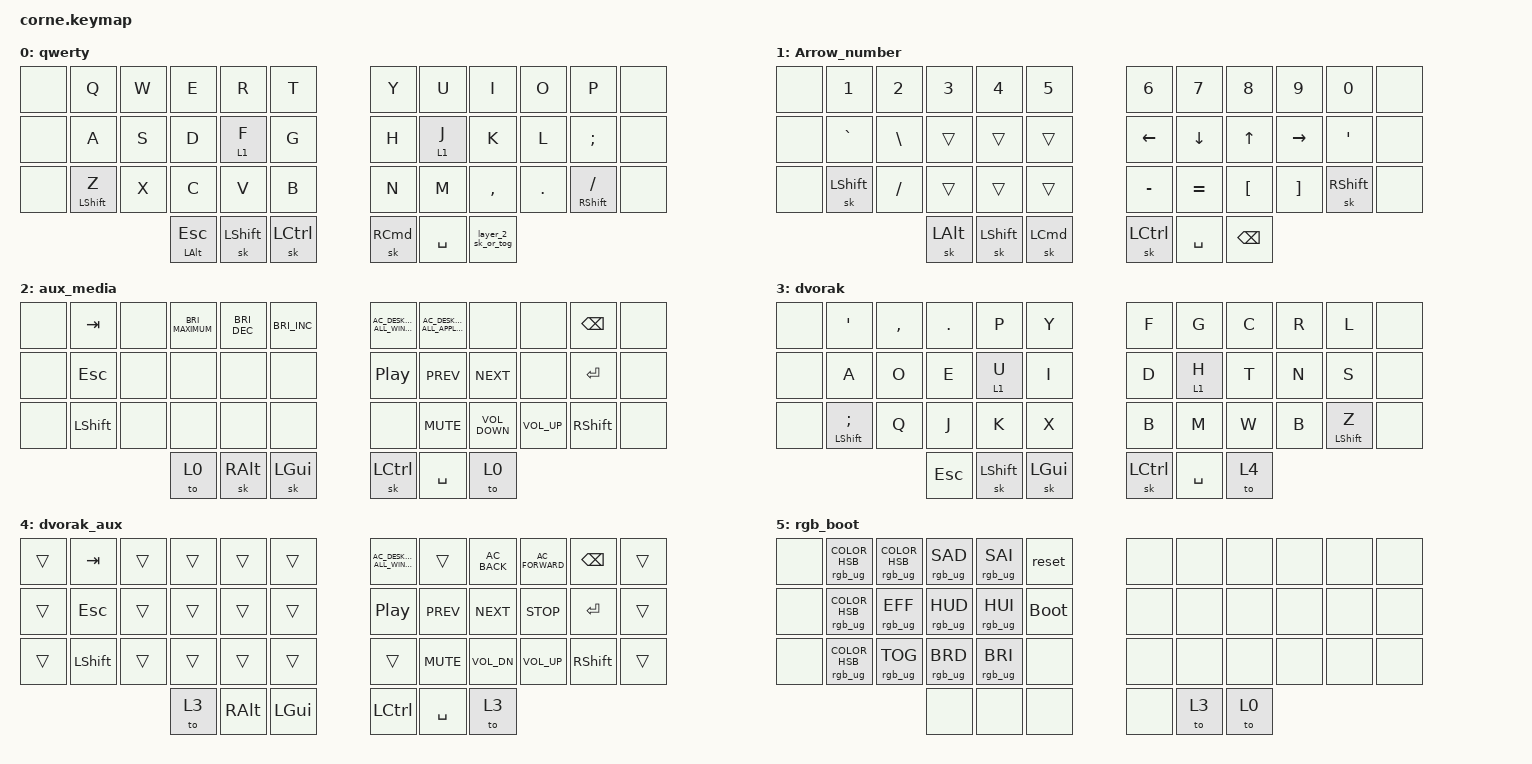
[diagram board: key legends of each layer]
/*
 * Copyright (c) 2020 The ZMK Contributors
 *
 * SPDX-License-Identifier: MIT
 */

#include <behaviors.dtsi>
#include <dt-bindings/zmk/keys.h>
#include <dt-bindings/zmk/rgb.h>
#include <dt-bindings/zmk/bt.h>

/ {
    combos {
        compatible = "zmk,combos";

        back_to_0 {
            bindings = <&to 0>;
            key-positions = <36 41>;
            layers = <2 3 4 1>;
        };

        back_to_dvorak {
            bindings = <&to 3>;
            key-positions = <36 40>;
            layers = <0 4>;
        };

        reset {
            bindings = <&reset>;
            key-positions = <1 5 36>;
            layers = <0 3>;
        };

        bootloader {
            bindings = <&trans>;
            key-positions = <10 6 36>;
            layers = <0 3>;
        };

        bt1 {
            bindings = <&bt BT_SEL 0>;
            key-positions = <36 37 1>;
            layers = <0 1 2 4 3>;
        };

        bt2 {
            bindings = <&bt BT_SEL 1>;
            key-positions = <37 36 2>;
            layers = <4 3 0 1 2>;
        };

        bt3 {
            bindings = <&bt BT_SEL 2>;
            key-positions = <36 37 3>;
            layers = <4 3 0 1 2>;
        };

        bt4 {
            bindings = <&bt BT_SEL 3>;
            key-positions = <4 36 37>;
            layers = <3 0 4 1 2>;
        };

        layer_5 {
            bindings = <&trans>;
            key-positions = <1 11 36 41>;
            layers = <3 0 4 1 2>;
        };
    };

    behaviors {
        semicolon_enter: semicolon_enter {
            compatible = "zmk,behavior-tap-dance";
            label = "SEMICOLON_ENTER";
            #binding-cells = <0>;
            bindings =
                <&kp SEMICOLON>,
                <&kp ENTER>;
        };
        layer_2_sk_or_tog: layer_2_sk_or_tog {
            compatible = "zmk,behavior-tap-dance";
            label = "LAYER_2_SK_OR_TOG";
            #binding-cells = <0>;
            bindings =
                <&sl 2>,
                <&to 2>;
        };
    };

    keymap {
        compatible = "zmk,keymap";

        qwerty {
            // -----------------------------------------------------------------------------------------
            // |  TAB |  Q  |  W  |  E  |  R  |  T  |   |  Y  |  U   |  I  |  O  |  P  | BKSP |
            // | CTRL |  A  |  S  |  D  |  F  |  G  |   |  H  |  J   |  K  |  L  |  ;  |  '   |
            // | SHFT |  Z  |  X  |  C  |  V  |  B  |   |  N  |  M   |  ,  |  .  |  /  | ESC  |
            //                    | GUI | LWR | SPC |   | ENT | RSE  | ALT |

            bindings = <
&none             &kp Q  &kp W             &kp E           &kp R             &kp T                &kp Y      &kp U               &kp I    &kp O                  &kp P  &none
&none             &kp A  &kp S             &kp D         &lt 1 F             &kp G                &kp H    &lt 1 J               &kp K    &kp L               &kp SEMI  &none
&none  &mt LEFT_SHIFT Z  &kp X             &kp C           &kp V             &kp B                &kp N      &kp M           &kp COMMA  &kp DOT  &mt RIGHT_SHIFT SLASH  &none
                                &mt LEFT_ALT ESC  &sk LEFT_SHIFT  &sk LEFT_CONTROL    &sk RIGHT_COMMAND  &kp SPACE  &layer_2_sk_or_tog
            >;
        };

        Arrow_number {
            // -----------------------------------------------------------------------------------------
            // |  TAB |  1  |  2  |  3  |  4  |  5  |   |  6  |  7  |  8  |  9  |  0  | BKSP |
            // | BTCLR| BT1 | BT2 | BT3 | BT4 | BT5 |   | LFT | DWN |  UP | RGT |     |      |
            // | SHFT |     |     |     |     |     |   |     |     |     |     |     |      |
            //                    | GUI |     | SPC |   | ENT |     | ALT |

            bindings = <
&none          &kp N1         &kp N2        &kp N3          &kp N4            &kp N5              &kp N6     &kp N7            &kp N8             &kp N9            &kp N0  &none
&none       &kp GRAVE  &kp BACKSLASH        &trans          &trans            &trans            &kp LEFT   &kp DOWN            &kp UP          &kp RIGHT  &kp SINGLE_QUOTE  &none
&none  &sk LEFT_SHIFT      &kp SLASH        &trans          &trans            &trans           &kp MINUS  &kp EQUAL  &kp LEFT_BRACKET  &kp RIGHT_BRACKET   &sk RIGHT_SHIFT  &none
                                      &sk LEFT_ALT  &sk LEFT_SHIFT  &sk LEFT_COMMAND    &sk LEFT_CONTROL  &kp SPACE     &kp BACKSPACE
            >;
        };

        aux_media {
            bindings = <
&none    &kp TAB  &none  &kp C_BRIGHTNESS_MAXIMUM  &kp C_BRIGHTNESS_DEC  &kp C_BRIGHTNESS_INC    &kp C_AC_DESKTOP_SHOW_ALL_WINDOWS  &kp C_AC_DESKTOP_SHOW_ALL_APPLICATIONS              &none            &none   &kp BSPC  &none
&none    &kp ESC  &none                     &none                 &none                 &none                     &kp C_PLAY_PAUSE                              &kp C_PREV         &kp C_NEXT            &none    &kp RET  &none
&none  &kp LSHFT  &none                     &none                 &none                 &none                                &none                              &kp K_MUTE  &kp K_VOLUME_DOWN  &kp K_VOLUME_UP  &kp RSHFT  &none
                                            &to 0              &sk RALT              &sk LGUI                            &sk LCTRL                               &kp SPACE              &to 0
            >;
        };

        dvorak {
            bindings = <
&none              &kp SQT  &kp COMMA  &kp DOT      &kp P     &kp Y        &kp F      &kp G  &kp C  &kp R             &kp L  &none
&none                &kp A      &kp O    &kp E    &lt 1 U     &kp I        &kp D    &lt 1 H  &kp T  &kp N             &kp S  &none
&none  &mt LEFT_SHIFT SEMI      &kp Q    &kp J      &kp K     &kp X        &kp B      &kp M  &kp W  &kp B  &mt LEFT_SHIFT Z  &none
                                       &kp ESC  &sk LSHFT  &sk LGUI    &sk LCTRL  &kp SPACE  &to 4
            >;
        };

        dvorak_aux {
            bindings = <
&trans    &kp TAB  &trans  &trans    &trans    &trans    &kp C_AC_DESKTOP_SHOW_ALL_WINDOWS      &trans  &kp C_AC_BACK  &kp C_AC_FORWARD   &kp BSPC  &trans
&trans    &kp ESC  &trans  &trans    &trans    &trans                     &kp C_PLAY_PAUSE  &kp C_PREV     &kp C_NEXT        &kp C_STOP    &kp RET  &trans
&trans  &kp LSHFT  &trans  &trans    &trans    &trans                               &trans  &kp K_MUTE   &kp C_VOL_DN      &kp C_VOL_UP  &kp RSHFT  &trans
                            &to 3  &kp RALT  &kp LGUI                            &kp LCTRL   &kp SPACE          &to 3
            >;
        };

        rgb_boot {
            bindings = <
&none  &rgb_ug RGB_COLOR_HSB(234,92,49)  &rgb_ug RGB_COLOR_HSB(0,96,52)  &rgb_ug RGB_SAD  &rgb_ug RGB_SAI       &reset    &none  &none  &none  &none  &none  &none
&none  &rgb_ug RGB_COLOR_HSB(280,95,49)                 &rgb_ug RGB_EFF  &rgb_ug RGB_HUD  &rgb_ug RGB_HUI  &bootloader    &none  &none  &none  &none  &none  &none
&none    &rgb_ug RGB_COLOR_HSB(0,27,95)                 &rgb_ug RGB_TOG  &rgb_ug RGB_BRD  &rgb_ug RGB_BRI        &none    &none  &none  &none  &none  &none  &none
                                                                                   &none            &none        &none    &none  &to 3  &to 0
            >;
        };
    };
};
